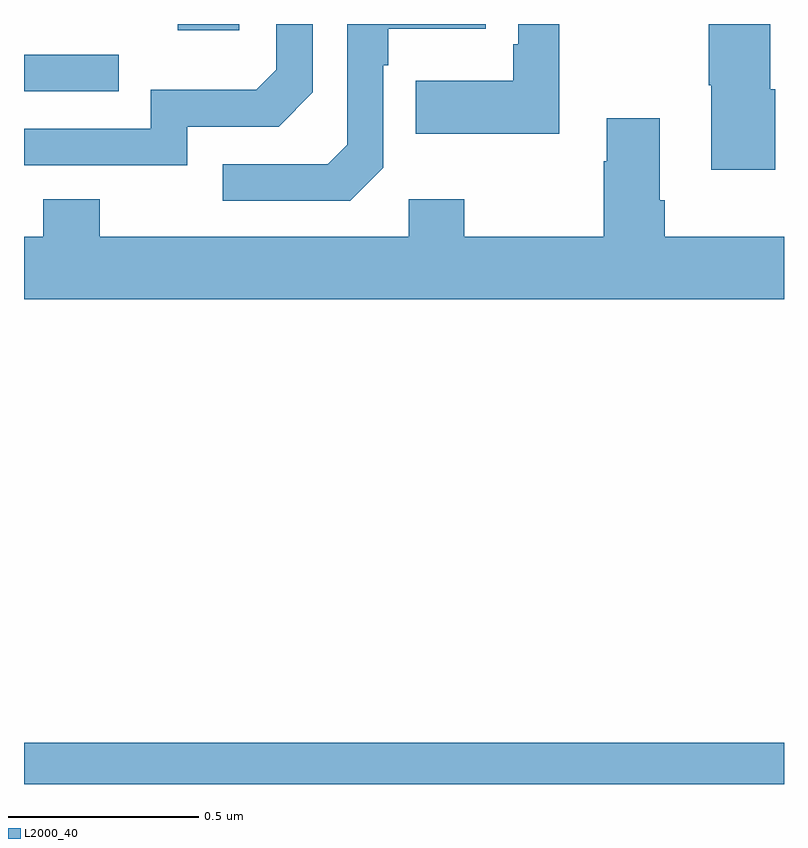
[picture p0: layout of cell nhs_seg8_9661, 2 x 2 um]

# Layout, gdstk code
import gdstk
lib = gdstk.Library(unit=1e-6, precision=1e-09)
def R(c, l, rs):  # rectangles x0, y0, x1, y1
    for r in rs: c.add(gdstk.rectangle(r[:2], r[2:], *l))
def P(c, l, *ps):  # polygons
    for p in ps: c.add(gdstk.Polygon(p, *l))
L2000_40 = (2000, 40)

nhs_seg8_9661 = lib.new_cell('nhs_seg8_9661')
R(nhs_seg8_9661, L2000_40, [(239,1105.9,241,1106.008), (239,1107.723,239.249,1107.819), (239.405,1107.884,239.566,1107.9)])
P(nhs_seg8_9661, L2000_40, [(239.43,1107.63),(239.67,1107.63),(239.76,1107.72),(239.76,1107.9),(239.664,1107.9),(239.664,1107.78),(239.611,1107.727),(239.334,1107.727),(239.334,1107.624),(239,1107.624),(239,1107.528),(239.43,1107.528)],
  [(240.409,1107.9),(240.3,1107.9),(240.3,1107.847),(240.288,1107.847),(240.288,1107.751),(240.031,1107.751),(240.031,1107.611),(240.409,1107.611)],
  [(239.946,1107.522),(239.946,1107.791),(239.959,1107.791),(239.959,1107.887),(240.215,1107.887),(240.215,1107.9),(239.85,1107.9),(239.85,1107.582),(239.799,1107.531),(239.523,1107.531),(239.523,1107.435),(239.859,1107.435)],
  [(240.977,1107.728),(240.964,1107.728),(240.964,1107.9),(240.802,1107.9),(240.802,1107.739),(240.809,1107.739),(240.809,1107.516),(240.977,1107.516)],
  [(241,1107.34),(240.686,1107.34),(240.686,1107.436),(240.673,1107.436),(240.673,1107.652),(240.533,1107.652),(240.533,1107.539),(240.526,1107.539),(240.526,1107.34),(240.159,1107.34),(240.159,1107.439),(240.012,1107.439),(240.012,1107.34),(239.199,1107.34),(239.199,1107.439),(239.051,1107.439),(239.051,1107.34),(239,1107.34),(239,1107.176),(241,1107.176)])

lib.write_gds('nhs_seg8_9661.gds')
